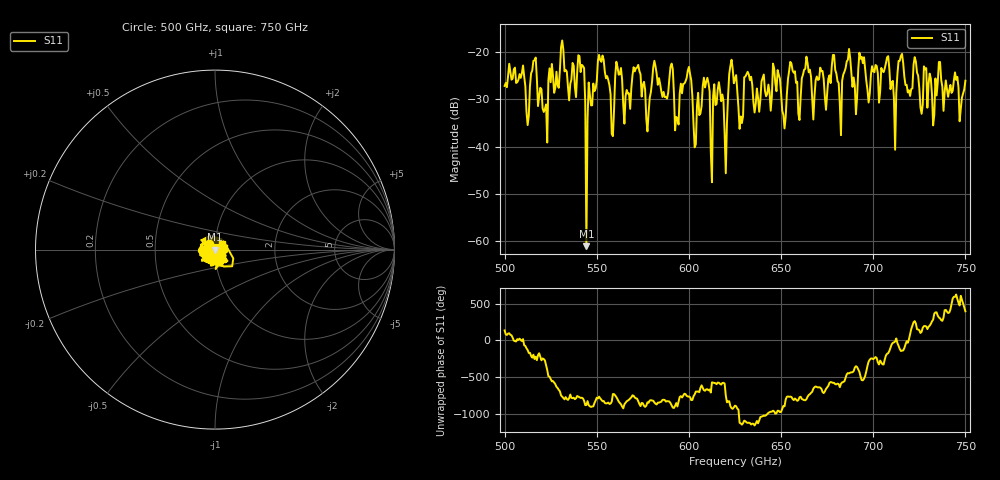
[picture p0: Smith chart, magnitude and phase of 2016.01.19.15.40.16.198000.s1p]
!Created with skrf (http://scikit-rf.org).
# GHz S RI R 50.0
!freq ReS11 ImS11
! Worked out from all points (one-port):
!   401 points, 500 GHz to 750 GHz, reference 50 ohm
!   lowest |S11| = -61.1 dB at 544.4 GHz (marker M1), VSWR 1.00, Z = 49.9 - j0.0355 ohm
!   |S11| at or under -10 dB: start of sweep to end of sweep
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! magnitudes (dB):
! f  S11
! 500 GHz  -27.1
! 512.5 GHz  -35.4
! 515.6 GHz  -21.8
! 521.9 GHz  -32.0
! 531.2 GHz  -17.5
! 541.9 GHz  -22.7
! 544.4 GHz  -61.1
! 551.9 GHz  -21.7
! 558.1 GHz  -37.3
! 562.5 GHz  -24.7
! 578.1 GHz  -32.8
! 581.2 GHz  -21.8
! 590.6 GHz  -22.4
! 593.8 GHz  -34.0
! 600 GHz  -23.1
! 603.1 GHz  -40.2
! 609.4 GHz  -26.3
! 620 GHz  -45.7
! 622.5 GHz  -22.9
! 625 GHz  -25.6
! 628.1 GHz  -33.6
! 631.2 GHz  -24.6
! 651.9 GHz  -36.2
! 656.2 GHz  -23.9
! 659.4 GHz  -33.1
! 687.5 GHz  -21.3
! 718.8 GHz  -28.5
! 750 GHz  -26.0
